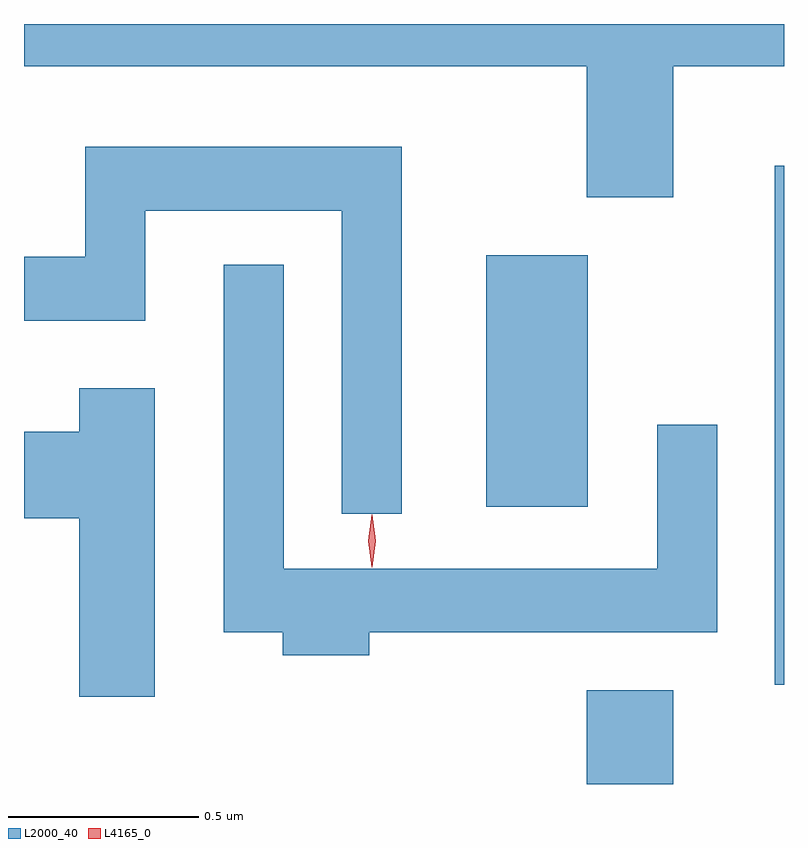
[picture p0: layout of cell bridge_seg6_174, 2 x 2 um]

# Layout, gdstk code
import gdstk
lib = gdstk.Library(unit=1e-6, precision=1e-09)
def R(c, l, rs):  # rectangles x0, y0, x1, y1
    for r in rs: c.add(gdstk.rectangle(r[:2], r[2:], *l))
def P(c, l, *ps):  # polygons
    for p in ps: c.add(gdstk.Polygon(p, *l))
L2000_40 = (2000, 40)
L4165_0 = (4165, 0)

bridge_seg6_174 = lib.new_cell('bridge_seg6_174')
R(bridge_seg6_174, L2000_40, [(1119.431,1574.787,1119.659,1575.034), (1119.926,1575.048,1119.95,1576.414), (1119.166,1575.516,1119.434,1576.179)])
P(bridge_seg6_174, L2000_40, [(1119.659,1576.676),(1119.95,1576.676),(1119.95,1576.787),(1117.95,1576.787),(1117.95,1576.676),(1119.431,1576.676),(1119.431,1576.331),(1119.659,1576.331)],
  [(1118.944,1576.464),(1118.111,1576.464),(1118.111,1576.174),(1117.95,1576.174),(1117.95,1576.006),(1118.269,1576.006),(1118.269,1576.296),(1118.786,1576.296),(1118.786,1575.498),(1118.944,1575.498)],
  [(1118.859,1575.186),(1119.774,1575.186),(1119.774,1575.733),(1119.616,1575.733),(1119.616,1575.354),(1118.634,1575.354),(1118.634,1576.153),(1118.476,1576.153),(1118.476,1575.186),(1118.631,1575.186),(1118.631,1575.126),(1118.859,1575.126)],
  [(1118.294,1575.829),(1118.096,1575.829),(1118.096,1575.714),(1117.95,1575.714),(1117.95,1575.486),(1118.096,1575.486),(1118.096,1575.016),(1118.294,1575.016)])
P(bridge_seg6_174, L4165_0, [(1118.866,1575.359),(1118.866,1575.36),(1118.856,1575.426),(1118.866,1575.492),(1118.866,1575.493),(1118.866,1575.492),(1118.876,1575.426),(1118.867,1575.36)],
  [(1118.866,1575.357),(1118.865,1575.358),(1118.856,1575.427),(1118.865,1575.496),(1118.866,1575.496),(1118.866,1575.496),(1118.876,1575.427),(1118.866,1575.358)])

lib.write_gds('bridge_seg6_174.gds')
